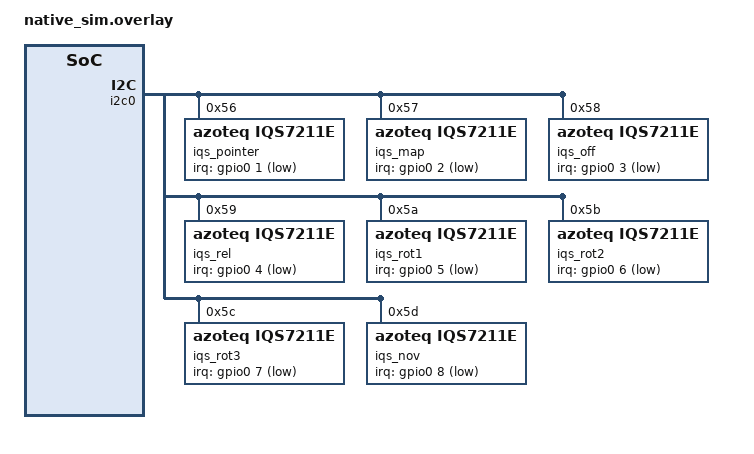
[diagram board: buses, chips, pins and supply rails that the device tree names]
/* Copyright (c) 2026 amgskobo
 * SPDX-License-Identifier: MIT
 */
#include <zephyr/dt-bindings/gpio/gpio.h>

&i2c0 {
    /* Tap, report and verification settings of a production pointer device. */
    iqs_pointer: iqs7211e@56 {
        compatible = "azoteq,iqs7211e";
        reg = <0x56>;
        irq-gpios = <&gpio0 1 GPIO_ACTIVE_LOW>;
        single-tap = <0>;
        double-tap = <0>;
        triple-tap = <0>;
        rotate-cw = <0>;
        report-abs;
        touch-verify-interval-ms = <120>;
    };
    /* A different button for each tap. */
    iqs_map: iqs7211e@57 {
        compatible = "azoteq,iqs7211e";
        reg = <0x57>;
        irq-gpios = <&gpio0 2 GPIO_ACTIVE_LOW>;
        single-tap = <1>;
        double-tap = <2>;
        triple-tap = <3>;
        report-abs;
    };
    /* Taps off: explicit raw cells and an omitted property. */
    iqs_off: iqs7211e@58 {
        compatible = "azoteq,iqs7211e";
        reg = <0x58>;
        irq-gpios = <&gpio0 3 GPIO_ACTIVE_LOW>;
        single-tap = <(-1)>;
        triple-tap = <(-1)>;
        report-abs;
    };
    /* Direct relative reports. */
    iqs_rel: iqs7211e@59 {
        compatible = "azoteq,iqs7211e";
        reg = <0x59>;
        irq-gpios = <&gpio0 4 GPIO_ACTIVE_LOW>;
        single-tap = <0>;
        double-tap = <0>;
        triple-tap = <0>;
    };
    iqs_rot1: iqs7211e@5a {
        compatible = "azoteq,iqs7211e";
        reg = <0x5a>;
        irq-gpios = <&gpio0 5 GPIO_ACTIVE_LOW>;
        rotate-cw = <1>;
        report-abs;
    };
    iqs_rot2: iqs7211e@5b {
        compatible = "azoteq,iqs7211e";
        reg = <0x5b>;
        irq-gpios = <&gpio0 6 GPIO_ACTIVE_LOW>;
        rotate-cw = <2>;
        report-abs;
    };
    iqs_rot3: iqs7211e@5c {
        compatible = "azoteq,iqs7211e";
        reg = <0x5c>;
        irq-gpios = <&gpio0 7 GPIO_ACTIVE_LOW>;
        rotate-cw = <3>;
        report-abs;
    };
    /* Host touch verification off. */
    iqs_nov: iqs7211e@5d {
        compatible = "azoteq,iqs7211e";
        reg = <0x5d>;
        irq-gpios = <&gpio0 8 GPIO_ACTIVE_LOW>;
        single-tap = <0>;
        double-tap = <0>;
        triple-tap = <0>;
        report-abs;
        touch-verify-interval-ms = <0>;
    };
};

/ {
    /* The real ZMK listener, with no input processors, ahead of the HID report. */
    pointer_listener {
        compatible = "zmk,input-listener";
        device = <&iqs_pointer>;
    };
    map_listener {
        compatible = "zmk,input-listener";
        device = <&iqs_map>;
    };
    rel_listener {
        compatible = "zmk,input-listener";
        device = <&iqs_rel>;
    };
};
